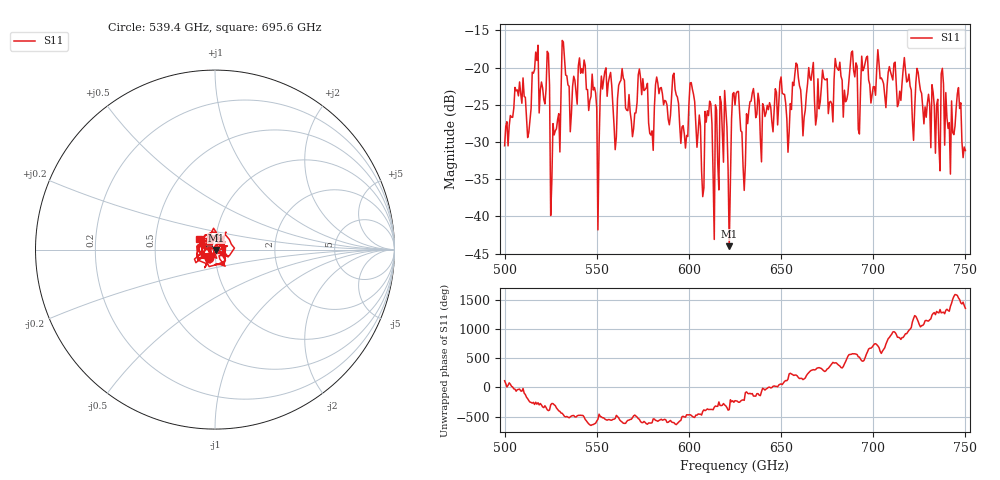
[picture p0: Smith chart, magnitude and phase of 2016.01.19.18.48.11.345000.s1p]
!Created with skrf (http://scikit-rf.org).
# GHz S RI R 50.0
!freq ReS11 ImS11
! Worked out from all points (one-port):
!   401 points, 500 GHz to 750 GHz, reference 50 ohm
!   lowest |S11| = -44.0 dB at 621.9 GHz (marker M1), VSWR 1.01, Z = 50.6 - j0.244 ohm
!   |S11| at or under -10 dB: start of sweep to end of sweep
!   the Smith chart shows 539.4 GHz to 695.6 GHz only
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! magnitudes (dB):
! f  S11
! 500 GHz  -30.5
! 506.9 GHz  -23.0
! 513.1 GHz  -28.7
! 516.9 GHz  -17.9
! 523.1 GHz  -17.8
! 526.2 GHz  -27.5
! 531.2 GHz  -16.4
! 542.5 GHz  -20.8
! 550.6 GHz  -41.8
! 553.8 GHz  -21.6
! 560 GHz  -31.0
! 562.5 GHz  -22.0
! 579.4 GHz  -29.1
! 583.1 GHz  -22.1
! 593.8 GHz  -24.0
! 601.9 GHz  -22.9
! 606.9 GHz  -33.9
! 618.1 GHz  -28.9
! 621.9 GHz  -44.0
! 625 GHz  -25.0
! 629.4 GHz  -33.3
! 634.4 GHz  -23.4
! 656.2 GHz  -22.0
! 687.5 GHz  -19.8
! 718.8 GHz  -21.8
! 735 GHz  -24.3
! 746.2 GHz  -22.7
! 750 GHz  -31.1
